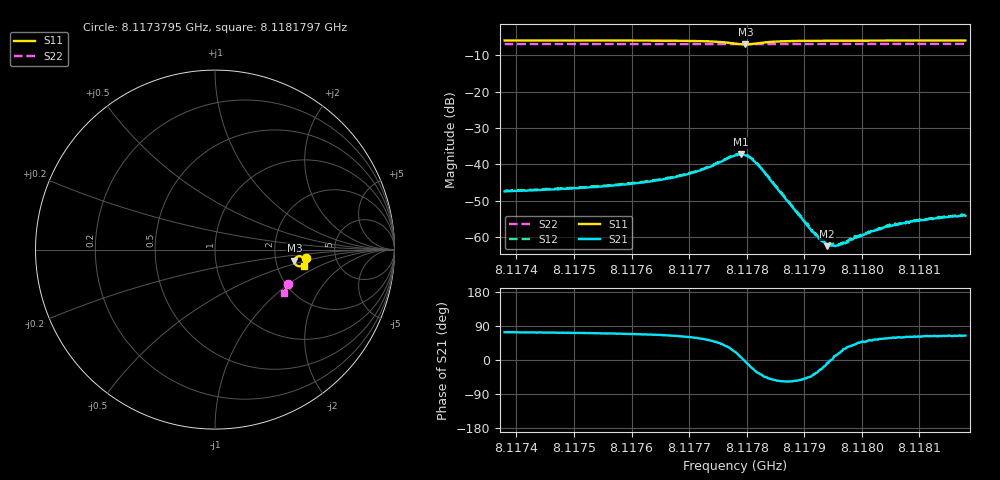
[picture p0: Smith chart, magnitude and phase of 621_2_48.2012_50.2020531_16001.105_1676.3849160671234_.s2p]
#  HZ  S  RI  R  50.00
! Rohde & Schwarz Vector Network Analyzer
! Rohde-Schwarz,ZNB20-2Port,1311601062101988,3.16
! Created: UTC 3/20/2024, 12:03:55 PM
! freq[Hz]  re:S11  im:S11  re:S21  im:S21  re:S12  im:S12  re:S22  im:S22
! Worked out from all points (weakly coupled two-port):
!   401 points, 8.1173795 GHz to 8.1181797 GHz, reference 50 ohm
!   highest |S21| = -37.24 dB at 8.1177896 GHz (marker M1); lowest = -62.5 dB at 8.1179397 GHz (marker M2)
!   lowest |S11| = -7.0 dB at 8.1177976 GHz (marker M3), VSWR 2.61, Z = 127 - j19.3 ohm
!   |S11| at or under -10 dB: nowhere
!   |S22| runs from -6.9 to -6.8 dB; largest |S21 - S12| = 0.00051
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8.1173795e9  0.505 -0.0444  0.00122 0.00409  0.00122 0.00418  0.4089 -0.1935
8.11751354e9  0.5031 -0.0566  0.00153 0.00455  0.00157 0.0046  0.405 -0.2022
8.11759757e9  0.501 -0.0657  0.00196 0.00504  0.00205 0.00515  0.4026 -0.2076
8.11764758e9  0.4986 -0.0722  0.00246 0.00562  0.00259 0.00568  0.401 -0.2109
8.11768559e9  0.4954 -0.0784  0.00325 0.00622  0.00333 0.0063  0.3995 -0.2134
8.1177136e9  0.4909 -0.0842  0.00427 0.00682  0.00436 0.00697  0.3985 -0.2152
8.11773761e9  0.4834 -0.0896  0.00584 0.00725  0.00607 0.00751  0.3975 -0.2167
8.11777962e9  0.4513 -0.0857  0.0123 0.00489  0.0126 0.00493  0.3948 -0.2187
8.11778962e9  0.4435 -0.0737  0.0136 0.00191  0.014 0.00199  0.3943 -0.2187
8.11779763e9  0.4424 -0.0609  0.0133 -0.00096  0.0136 -0.000959  0.3943 -0.2186
8.11781163e9  0.4534 -0.0424  0.0103 -0.00467  0.0106 -0.00485  0.3946 -0.2188
8.11782564e9  0.4697 -0.037  0.00682 -0.00544  0.00689 -0.00565  0.3948 -0.2195
8.11791366e9  0.4988 -0.0613  0.000896 -0.000781  0.000933 -0.000794  0.3931 -0.2262
8.11792767e9  0.4994 -0.0639  0.000837 -0.000388  0.000857 -0.000451  0.3927 -0.2273
8.11793967e9  0.4996 -0.0659  0.000747 -9.94e-05  0.000802 -0.000147  0.3922 -0.228
8.11795167e9  0.4998 -0.068  0.000753 0.000125  0.000787 0.0001  0.3919 -0.2288
8.11796368e9  0.5001 -0.0697  0.000742 0.000307  0.000761 0.000331  0.3916 -0.2296
8.11798768e9  0.5 -0.073  0.00075 0.000649  0.000768 0.000695  0.3907 -0.2311
8.11801369e9  0.4999 -0.0763  0.000717 0.000923  0.000713 0.000913  0.3899 -0.2328
8.1180477e9  0.4996 -0.08  0.000753 0.00119  0.000811 0.00126  0.3887 -0.2347
8.11808972e9  0.4992 -0.0843  0.000794 0.00148  0.000813 0.00154  0.3872 -0.2374
8.11817974e9  0.4979 -0.0926  0.00085 0.00178  0.000913 0.00184  0.3842 -0.243
